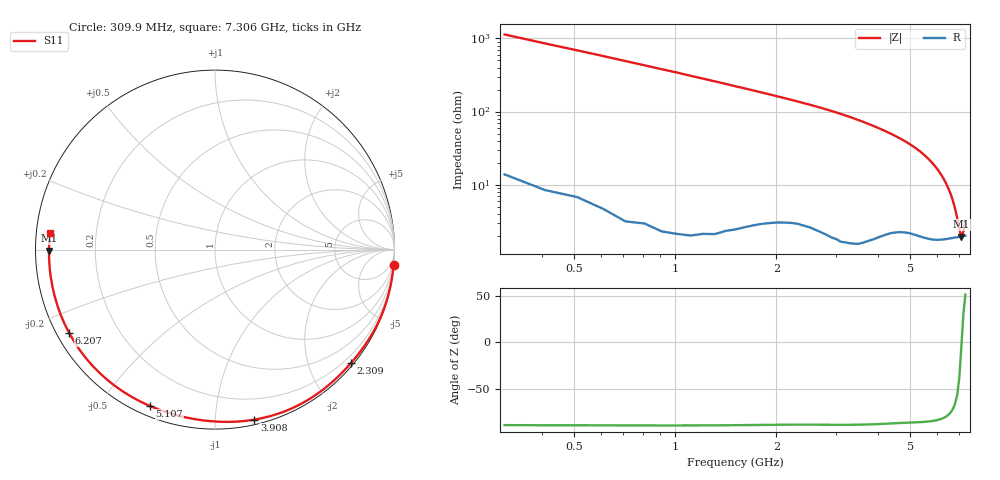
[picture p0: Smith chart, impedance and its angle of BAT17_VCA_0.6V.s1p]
! Infineon Technologies  Discrete & RF Semiconductors
! BAT17
! VCA = 0.6 V
! One-Port S-Parameters
# Hz  S  MA  R  50
!f  S11
!Hz  Mag  Ang
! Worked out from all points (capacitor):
!   71 points, 309.9 MHz to 7.306 GHz, reference 50 ohm
!   read as one part to ground: C = 452 fF near 309.9 MHz
!   lowest |Z| = 1.95 ohm at 7.106 GHz (marker M1)
!   series resonance near 7.12 GHz, so ESL is about 1.1 nH
!   S11 on the Smith chart (normalised r, x): 309.9 MHz: 0, -23; 2.309 GHz: 0.06, -2.75; 3.908 GHz: 0.04, -1.26; 5.107 GHz: 0.04, -0.67; 6.207 GHz: 0.04, -0.26; 7.306 GHz: 0.04, +0.05
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3.0985e8  0.9989 -5.1
7.0965e8  0.9987 -11.6
1.2094e9  0.9974 -20.1
1.6092e9  0.9943 -27.1
2.10895e9  0.9884 -36.2
2.30885e9  0.9865 -40.0
2.70865e9  0.9854 -47.9
3.0085e9  0.985 -54.4
3.2084e9  0.9844 -59.0
3.4083e9  0.9827 -63.9
3.6082e9  0.9797 -69.0
3.8081e9  0.975 -74.3
3.90805e9  0.9726 -77.0
4.10795e9  0.9664 -82.5
4.30785e9  0.9598 -88.2
4.50775e9  0.9538 -94.1
4.70765e9  0.9489 -100.1
4.90755e9  0.9454 -106.3
5.10745e9  0.9437 -112.6
5.30735e9  0.9429 -119.2
5.6072e9  0.9416 -129.5
5.90705e9  0.9396 -139.9
6.2069e9  0.9361 -150.3
6.4068e9  0.9333 -157.1
6.50675e9  0.9317 -160.4
6.8066e9  0.9277 -170.2
7.10645e9  0.9254 -179.6
7.30635e9  0.9236 174.3
